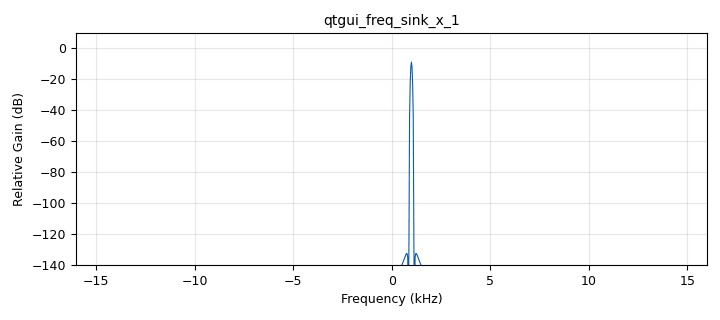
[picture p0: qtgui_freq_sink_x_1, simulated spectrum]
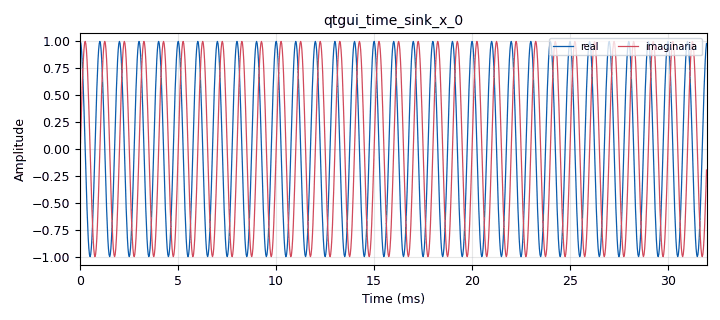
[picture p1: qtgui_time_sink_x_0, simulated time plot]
options:
  parameters:
    author: daniel-arod
    copyright: MIT
    description: 'original example was made by Cardona I: https://youtu.be/KCtcHaPr7Ug'
    generate_options: qt_gui
    id: basic_example
    output_language: python
    title: basic_example
  states: {}

blocks:
- name: samp_rate
  id: variable
  parameters:
    value: '32000'
  states: {}
- name: analog_sig_source_x_2
  id: analog_sig_source_x
  parameters:
    amp: '1'
    freq: '1000'
    offset: '0'
    phase: '0'
    samp_rate: samp_rate
    type: complex
    waveform: analog.GR_COS_WAVE
  states: {}
- name: blocks_throttle_0
  id: blocks_throttle
  parameters:
    samples_per_second: samp_rate
    type: complex
  states: {}
- name: qtgui_freq_sink_x_1
  id: qtgui_freq_sink_x
  parameters:
    bw: samp_rate
    fc: '0'
    fftsize: '1024'
    type: complex
    wintype: firdes.WIN_BLACKMAN_hARRIS
  states: {}
- name: qtgui_time_sink_x_0
  id: qtgui_time_sink_x
  parameters:
    label1: real
    label2: imaginaria
    size: '1024'
    srate: samp_rate
    type: complex
  states: {}

connections:
- [analog_sig_source_x_2, '0', blocks_throttle_0, '0']
- [blocks_throttle_0, '0', qtgui_freq_sink_x_1, '0']
- [blocks_throttle_0, '0', qtgui_time_sink_x_0, '0']

metadata:
  file_format: 1
